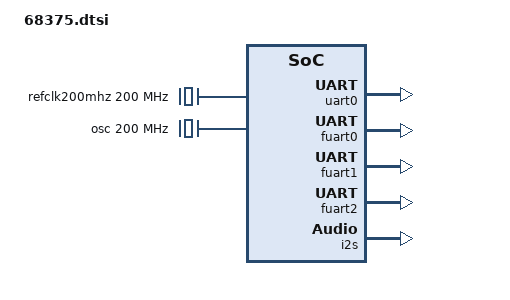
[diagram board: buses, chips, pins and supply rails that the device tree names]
/dts-v1/;

#include "linux_autoconf.h"

#include <dt-bindings/interrupt-controller/arm-gic.h>
#include <dt-bindings/interrupt-controller/irq.h>
#include "../../boot_rsvdmem.dtsi"

/ {
	#define MODEL "Broadcom BCM968375"
	#define COMPATIBLE "brcm,bcm968375"

/* memory reservations */
#if defined (CONFIG_BCM_DHD_RUNNER) || (CONFIG_BCM_DHD_RUNNER_MODULE) || defined(CONFIG_BCM_DHD_ARCHER) || defined(CONFIG_BCM_DHD_ARCHER_MODULE)
    #define DT_RESERVED_DHD_IN_UNCACHED_DEV
#endif
#if defined(CONFIG_BCM_WLAN) || defined(CONFIG_BCM_WLAN_MODULE)
#define	 DT_RESERVED_WLAN_CMA_IN_UNCACHED_DEV
#endif /* CONFIG_BCM_WLAN */

    reserved-memory {
        #address-cells = <2>;
        #size-cells = <2>;
        ranges;
            dt_reserved_cma: dt_reserved_cma {
            compatible = "shared-dma-pool";
            reusable;
#if defined(CONFIG_CMA_ALIGNMENT)
            align = <( (1UL << CONFIG_ARM64_PAGE_SHIFT) << CONFIG_CMA_ALIGNMENT)>;
#endif
            /* Bootloader will fill in the total size and offset */
            reg = <0x0 0x0 0x0 0x0>;
        };
    };

    plat_rsvmem_cached_device {
        compatible = "brcm,plat-rsvmem";
        dma-coherent;
        memory-region = <&dt_reserved_cma>;

        dt_reserved_bufmem: dt_reserved_bufmem {
            rsvd-size = <0x10000000>;
        };
    };

    plat_rsvmem_uncached_device {
        compatible = "brcm,plat-rsvmem";
        memory-region = <&dt_reserved_cma>;
    
        dt_reserved_rnrmem: dt_reserved_rnrmem {
            rsvd-size = <0x1400000>;
        };

#if (defined(CONFIG_BCM_HW_FIREWALL) || defined(CONFIG_BCM_HW_FIREWALL_MODULE))
        dt_reserved_ddosmem: dt_reserved_ddosmem {
            rsvd-size = <0x400000>;
        };
#endif
#ifdef DT_RESERVED_DHD_IN_UNCACHED_DEV
        dt_reserved_dhd0:dt_reserved_dhd0 {
            rsvd-size = <0>;
        };
        dt_reserved_dhd1:dt_reserved_dhd1 {
            rsvd-size = <0>;
        };
        dt_reserved_dhd2:dt_reserved_dhd2 {
            rsvd-size = <0>;
        };
        dt_reserved_dhd3:dt_reserved_dhd3 {
            rsvd-size = <0>;
        };
#endif
#ifdef DT_RESERVED_WLAN_CMA_IN_UNCACHED_DEV
		dt_reserved_wlan_cma:dt_reserved_wlan_cma {
			rsvd-size = <0>;
		};
#endif
    };

	aliases {
		serial0 = &uart0;
        serial1 = &fuart0;
        serial2 = &fuart1;
    };

	chosen {
		stdout-path = "serial0:115200n8";
		bootargs = "coherent_pool=2M console=ttyS0,115200 earlycon pci=pcie_bus_safe";
    };

	/* memc */
    memory_controller {
        #include "../../ip/memc.dtsi"
    };

    /* wan type auto detect */
    wantype_detect {
        #define GPON_GENERAL_CONFIG_ADDR    0x0 0x80129000
        #define GPON_GENERAL_CONFIG_SIZE    0x0 0x10
        #define EPON_TOP_ADDR               0x0 0x80100000
        #define EPON_TOP_SIZE               0x0 0x1C
        #define EPON_LIF_ADDR               0x0 0x80101800
        #define EPON_LIF_SIZE               0x0 0x110
        #define EPON_XPCSR_ADDR             0x0 0x80103000
        #define EPON_XPCSR_SIZE             0x0 0x124
        #define NGPON_RXGEN_ADDR            0x0 0x8015C000
        #define NGPON_RXGEN_SIZE            0x0 0x80
        #include "../../ip/bcm_wantype_detect.dtsi"
    };

    cpufreq: cpufreq {
        #define OP_MODE "dfs"
        #include "../../ip/bcm_cpufreq.dtsi"
        };

    otp: otp {
        compatible = "brcm,otp";
        };

    /* pcie common */
    pcie: pcie {
        compatible = "brcm,bcm-pcie";
        device_type = "cpci";
        brcm,pllclkid = <0x210>;
    };

    /* pcie core 0 GEN3 */
    pcie0: pcie@0 {
        #define PCIE_ID         0
        #define PCIE_SPI        79
        #define PCIE_ADDR       0x80080000
        #define PCIE_SIZE       0x0000B000
        #define PCIE_RANGE_ADDR 0xC0000000
        #define PCIE_RANGE_SIZE 0x10000000
        #include "../../ip/bcm_pcie_core.dtsi"
    };

    /* pcie core 1 GEN3 */
    pcie1: pcie@1 {
        #define PCIE_ID         1
        #define PCIE_SPI        80
        #define PCIE_ADDR       0x80090000
        #define PCIE_SIZE       0x0000B000
        #define PCIE_RANGE_ADDR 0xD0000000
        #define PCIE_RANGE_SIZE 0x10000000
        #include "../../ip/bcm_pcie_core.dtsi"
    };

    /* pcie core 2 GEN3 */
    pcie2: pcie@2 {
        #define PCIE_ID         2
        #define PCIE_SPI        81
        #define PCIE_ADDR       0x800A0000
        #define PCIE_SIZE       0x0000B000
        #define PCIE_RANGE_ADDR 0xE0000000
        #define PCIE_RANGE_SIZE 0x10000000
        #include "../../ip/bcm_pcie_core.dtsi"
    };

    /* boot state */
    boot_state: boot_state {
        #define RESET_REASON_OFFSET                 0x0 0x84120804  // NW1
        #define RESET_REASON_SIZE                   0x0 0x4
        #define RESET_STATUS_OFFSET                 0x0 0x84120800  // NW0
        #define RESET_STATUS_SIZE                   0x0 0x4
        #include "../../ip/bcm_boot_state_v2.dtsi"
    };


    gpon_drv,  {
        compatible = "brcm,gpon-drv";
        reg = <0x0 0x80128000 0x0 0x1c00>;
        interrupts = <GIC_SPI 174  IRQ_TYPE_LEVEL_HIGH>, /* INTERRUPT_WAN_GPON_RX */
                     <GIC_SPI 173  IRQ_TYPE_LEVEL_HIGH>; /* INTERRUPT_WAN_GPON_TX */
        interrupt-names = "gpon_rx", "gpon_tx";
    };

    ngpon_drv {
        compatible = "brcm,ngpon-drv";
        reg = <0x0 0x8015c000 0x0 0x9080>;
        enforce-long-preamble;
        interrupts = <GIC_SPI 162  IRQ_TYPE_LEVEL_HIGH>, /* INTERRUPT_WAN_XGRX */
                     <GIC_SPI 166  IRQ_TYPE_LEVEL_HIGH>, /* INTERRUPT_WAN_XGTX_INTR0 */
                     <GIC_SPI 165  IRQ_TYPE_LEVEL_HIGH>, /* INTERRUPT_WAN_XGTX_INTR1 */
                     <GIC_SPI 164  IRQ_TYPE_LEVEL_HIGH>, /* INTERRUPT_WAN_XGTX_INTR2 */
                     <GIC_SPI 163  IRQ_TYPE_LEVEL_HIGH>; /* INTERRUPT_WAN_XGTX_INTR3 */
        interrupt-names = "ngpon_rx", "ngpon_tx0", "ngpon_tx1", "ngpon_tx2", "ngpon_tx3";
    };

    wan_serdes {
        compatible = "brcm,pon-drv";
        status = "disabled";
        reg = <0x0 0x80104000 0x0 0x1cc00>;
        idx = <0>;
    };

    wan_serdes1 {
        compatible = "brcm,pon-drv";
        status = "disabled";
        idx = <1>;
    };
	
    epon_drv {
        compatible = "brcm,epon-drv";
        reg = <0x0 0x80100000 0x0 0x4000>;
    };

    /* xrdp,wan_bbh */
    rdpa_drv {
        compatible = "brcm,rdpa";
        reg = <0x0 0x82000000 0x0 0xE60000>,
              <0x0 0x80170000 0x0 0x12400>;
        interrupts = <GIC_SPI 129 IRQ_TYPE_LEVEL_HIGH>, /* INTERRUPT_XRDP_FPM/INTERRUPT_XRDP_QUEUE_32 */
                     <GIC_SPI 97  IRQ_TYPE_LEVEL_HIGH>, /* INTERRUPT_XRDP_QUEUE_0 */
                     <GIC_SPI 98  IRQ_TYPE_LEVEL_HIGH>, /* INTERRUPT_XRDP_QUEUE_1 */
                     <GIC_SPI 99  IRQ_TYPE_LEVEL_HIGH>, /* INTERRUPT_XRDP_QUEUE_2 */
                     <GIC_SPI 100  IRQ_TYPE_LEVEL_HIGH>, /* INTERRUPT_XRDP_QUEUE_3 */
                     <GIC_SPI 101 IRQ_TYPE_LEVEL_HIGH>, /* INTERRUPT_XRDP_QUEUE_4 */
                     <GIC_SPI 102 IRQ_TYPE_LEVEL_HIGH>, /* INTERRUPT_XRDP_QUEUE_5 */
                     <GIC_SPI 103 IRQ_TYPE_LEVEL_HIGH>, /* INTERRUPT_XRDP_QUEUE_6 */
                     <GIC_SPI 104 IRQ_TYPE_LEVEL_HIGH>, /* INTERRUPT_XRDP_QUEUE_7 */
                     <GIC_SPI 105 IRQ_TYPE_LEVEL_HIGH>, /* INTERRUPT_XRDP_QUEUE_8 */
                     <GIC_SPI 106 IRQ_TYPE_LEVEL_HIGH>, /* INTERRUPT_XRDP_QUEUE_9 */
                     <GIC_SPI 107 IRQ_TYPE_LEVEL_HIGH>, /* INTERRUPT_XRDP_QUEUE_10 */
                     <GIC_SPI 108 IRQ_TYPE_LEVEL_HIGH>, /* INTERRUPT_XRDP_QUEUE_11 */
                     <GIC_SPI 109 IRQ_TYPE_LEVEL_HIGH>, /* INTERRUPT_XRDP_QUEUE_12 */
                     <GIC_SPI 110 IRQ_TYPE_LEVEL_HIGH>, /* INTERRUPT_XRDP_QUEUE_13 */
                     <GIC_SPI 111 IRQ_TYPE_LEVEL_HIGH>, /* INTERRUPT_XRDP_QUEUE_14 */
                     <GIC_SPI 112 IRQ_TYPE_LEVEL_HIGH>, /* INTERRUPT_XRDP_QUEUE_15 */
                     <GIC_SPI 113 IRQ_TYPE_LEVEL_HIGH>, /* INTERRUPT_XRDP_QUEUE_16 */
                     <GIC_SPI 114 IRQ_TYPE_LEVEL_HIGH>, /* INTERRUPT_XRDP_QUEUE_17 */
                     <GIC_SPI 115 IRQ_TYPE_LEVEL_HIGH>, /* INTERRUPT_XRDP_QUEUE_18 */
                     <GIC_SPI 116 IRQ_TYPE_LEVEL_HIGH>, /* INTERRUPT_XRDP_QUEUE_19 */
                     <GIC_SPI 117 IRQ_TYPE_LEVEL_HIGH>, /* INTERRUPT_XRDP_QUEUE_20 */
                     <GIC_SPI 118 IRQ_TYPE_LEVEL_HIGH>, /* INTERRUPT_XRDP_QUEUE_21 */
                     <GIC_SPI 119 IRQ_TYPE_LEVEL_HIGH>, /* INTERRUPT_XRDP_QUEUE_22 */
                     <GIC_SPI 120 IRQ_TYPE_LEVEL_HIGH>, /* INTERRUPT_XRDP_QUEUE_23 */
                     <GIC_SPI 121 IRQ_TYPE_LEVEL_HIGH>, /* INTERRUPT_XRDP_QUEUE_24 */
                     <GIC_SPI 122 IRQ_TYPE_LEVEL_HIGH>, /* INTERRUPT_XRDP_QUEUE_25 */
                     <GIC_SPI 123 IRQ_TYPE_LEVEL_HIGH>, /* INTERRUPT_XRDP_QUEUE_26 */
                     <GIC_SPI 124 IRQ_TYPE_LEVEL_HIGH>, /* INTERRUPT_XRDP_QUEUE_27 */
                     <GIC_SPI 125 IRQ_TYPE_LEVEL_HIGH>, /* INTERRUPT_XRDP_QUEUE_28 */
                     <GIC_SPI 126 IRQ_TYPE_LEVEL_HIGH>, /* INTERRUPT_XRDP_QUEUE_29 */
                     <GIC_SPI 127 IRQ_TYPE_LEVEL_HIGH>, /* INTERRUPT_XRDP_QUEUE_30 */
                     <GIC_SPI 128 IRQ_TYPE_LEVEL_HIGH>; /* INTERRUPT_XRDP_QUEUE_31 */
        interrupt-names = "fpm", "queue0", "queue1", "queue2", "queue3", "queue4", "queue5",
                          "queue6", "queue7", "queue8", "queue9", "queue10", "queue11", 
                          "queue12", "queue13", "queue14", "queue15", "queue16", "queue17",
                          "queue18", "queue19", "queue20", "queue21", "queue22", "queue23",
                          "queue24", "queue25", "queue26", "queue27", "queue28", "queue29",
                          "queue30", "queue31";
    };

	/* clocks */
	#define PERIPH_CLK		200000000
	#define HS_SPI_PLL_CLK	200000000
	#include "../../ip/bcm_clocks.dtsi"

    #define UARTA_DBG       32
    #define UARTA_FUNC      33
    #define UARTB_FUNC      207
    #define UARTC_FUNC      179

    uart_clk: uart_clk {
        compatible = "fixed-clock";
        #clock-cells = <0>;
        clock-frequency = <50000000>;

        };

    refclk200mhz: refclk200mhz {
        compatible = "fixed-clock";
        #clock-cells = <0>;
        clock-frequency = <200000000>;
        };

    uart0: serial@8421C000 {
        compatible = "ns16550a";
        reg = <0x0 0x8421C000 0x0 0x20>;
        reg-io-width = <0x4>;
        reg-shift = <0x2>;
        interrupts = <GIC_SPI UARTA_DBG IRQ_TYPE_LEVEL_HIGH>;
        clocks = <&uart_clk>;

        };

    fuart0: serial@0x84219000 {
        compatible = "ns16550a";
        reg = <0x0 0x84219000 0x0 0x20>;
        reg-io-width = <0x4>;
        reg-shift = <0x2>;
        interrupts = <GIC_SPI UARTA_FUNC IRQ_TYPE_LEVEL_HIGH>;
        clocks = <&refclk200mhz>;

    };

    fuart1: serial@0x84219600 {
        compatible = "ns16550a";
        reg = <0x0 0x84219600 0x0 0x20>;
        reg-io-width = <0x4>;
        reg-shift = <0x2>;
        interrupts = <GIC_SPI UARTB_FUNC IRQ_TYPE_LEVEL_HIGH>;
        clocks = <&refclk200mhz>;

    };

    fuart2: serial@0x84219C00 {
        compatible = "ns16550a";
        reg = <0x0 0x84219C00 0x0 0x20>;
        reg-io-width = <0x4>;
        reg-shift = <0x2>;
        interrupts = <GIC_SPI UARTC_FUNC IRQ_TYPE_LEVEL_HIGH>;
        clocks = <&refclk200mhz>;

    };


    pincontroller: pinctrl {
            #define PINCTRL_OFFSET      0x0 0x84300630
            #define PINCTRL_SIZE        0x0 0xc
            #define PINCTRL_NUM_PINS    90
            #define PINCTRL_NUM_FUNC    11
            #define PINCTRL_GPIO_FUNC   4
            #include "../../ip/bcm_bca_pinctrl.dtsi"
            #include "68375_pinctrl.dtsi"
    };

    /* periph timers */
    timers: timers {
            #define TIMERS_OFFSET       0x0 0x84300500
            #define TIMERS__SIZE        0x0 0x48
            #define TIMER0_SPI          175
            #define TIMER1_SPI          176
            #define TIMER2_SPI          177
            #define TIMER3_SPI          178
            #include "../../ip/bcm_timer.dtsi"
    };
		        /* i2c */
    i2c0: i2c0 {
            #define I2C_OFFSET          0x0 0x84213100
            #define I2C_SIZE            0x0 0x60
            #include "../../ip/bcm_i2c_bus.dtsi"
    };

    i2c1: i2c1 {
            #define I2C_OFFSET          0x0 0x84213180
            #define I2C_SIZE            0x0 0x60
            #include "../../ip/bcm_i2c_bus.dtsi"
    };

    i2c2: i2c2 {
            #define I2C_OFFSET          0x0 0x84213200
            #define I2C_SIZE            0x0 0x60
            #include "../../ip/bcm_i2c_bus.dtsi"
    };

    i2s: bcm63xx-i2s {
            compatible      = "brcm,bcm63xx-i2s";
            reg             = <0x0 0x84301700 0x0 0x80>;
            interrupts      = <GIC_SPI 35 IRQ_TYPE_LEVEL_HIGH>;
            clocks          = <&i2sclk>, <&osc>;
            clock-names     = "i2sclk","i2sosc";
    };

    usb_ctrl: usb_ctrl {
        #define USB_CTRL_ADDR   0x0 0x800CF200
        #define USB_CTRL_SIZE   0x0 0x200
        #include "../../ip/bcm_usb_ctrl.dtsi"
    };

    usb0_xhci: usb0_xhci {
        #define USB_ADDR    0x0 0x800C0000
        #define USB_SIZE    0x0 0x4a4
        #define GBL_ADDR    0x0 0x800CC100
        #define GBL_SIZE    0x0 0x548
        #define USB_IRQ     85
        #include "../../ip/bcm_usb_xhci.dtsi"
        xhci-no-companion;
    };

    gpioc: gpioc {
            #define GPIO_BANKS_BASE     0x0 0x84214000
            #define GPIO_BANKS_SIZE     0x0 0x200                      
            #define GPIO_ACCESS_BASE    0x0 0x84213C00
            #define GPIO_ACCESS_SIZE    0x0 0x24
            #define GPIO_INTERRUPT      222
            #define NUM_OF_GPIOS        90
            #include "../../ip/bcm_bca_gpio_smc.dtsi"
            brcm,gpio-bank-widths = <32 32 26>;
    };


    /* HS SPI */
    hsspi: spi {
            pinctrl-0 = <&spim_group_pins>;
            pinctrl-names = "default";
            #define HS_SPI_OFFSET       0x0 0x84301000
            #define HS_SPI_SIZE         0x0 0x600
            #define HS_SPI_MAX_FREQ     50000000
            #define SPIM_CTRL_OFFSET    0x0 0x84210114
            #define SPIM_CTRL_SIZE      0x0 0x4
            /* #define HS_SPIM_SPI          36 */
            #include "../../ip/bcm_bca_hsspi.dtsi"
    };

    /* watchdog */
    wdt: watchdog  {
    	compatible = "brcm,bcm3390-wdt";
    	reg = <0x0 0x84213700 0x0 0x40>;
    	interrupts = <GIC_SPI 193 IRQ_TYPE_LEVEL_HIGH>;
    	interrupt-names = "wd_timeout";
    };

    /* watchdog reboot */
    wdt-reboot {
        compatible	= "wdt-reboot";
        wdt			= <&wdt>;
    };

    i2s_clkmclk_syscon: i2s_clkmclk_syscon {
        compatible          = "brcm,i2s-audio-clkmclk-syscon", "syscon";
        reg                 = <0x0 0x84301700 0x0 0x4>;
    };
};

/ {
     /* arch */
    #define PMU_CORE0_SPI   9
    #define PMU_CORE1_SPI   10
    #define PMU_CORE2_SPI   11
    #define PMU_CORE3_SPI   12
    #include "../../ip/bcm_b55_quad.dtsi"
};

/ {/* SMC OS */

    flash {
        compatible = "brcm,vflash", "simple-bus";
            };

    ftpm {
        compatible = "brcm,ftpm-smc";
        rpc-channel = <&rpctpmsmc>;
    };

    dqm {
        #define SMC_REG_BASE 0x0 0x84100000
        #define SMC_ARM_IRQ 213
        #include "../../ip/bcm_dqm.dtsi"
            };

    rpc {
        #include "../../ip/bcm_rpc.dtsi"
        };

    rpcsmcramlog {
        compatible = "brcm,smcramlog-rpc";
        rpc-channel = <&rpcrgsmc>;
        dummy-channel = <&rpcvflashsmc &rpcavssmc>;
    };

};

&clocks {
    osc: oscillator {
        #clock-cells        = <0>;
        compatible          = "fixed-clock";
        clock-frequency     = <200000000>;
    };

    i2sclk: i2sclk {
        #clock-cells        = <0>;
        compatible          = "brcm,i2s-clock";
        clocks              = <&osc>;
        clk-mclk-syscon     = <&i2s_clkmclk_syscon>;
        clock-output-names  = "i2s_clk";
    };

};

/* Networking */
/ {
    xport:xport {
        compatible = "brcm,xport";
        reg = <0x0 0x837f0000 0x0 0x8000>,
              <0x0 0x828b2000 0x0 0x1800>;
        status = "disabled";
    };

    ethphytop:ethphytop {
        compatible = "brcm,eth-phy-top";
        reg = <0x0 0x837ff000 0x0 0x1000>;
        xphy0-addr = <0x1>;
        xphy1-addr = <0x2>;
        xphy2-addr = <0x3>;
        xphy3-addr = <0x4>;
        xphy4-addr = <0x5>;
        status = "disabled";
    };

    serdes:serdes {
        compatible = "brcm,serdes1";
        reg = <0x0 0x837ff500 0x0 0x200>;
        status = "disabled";
    };

    mdio:mdio {
        compatible = "brcm,mdio1";
        reg = <0x0 0x837ffd00 0x0 0x10>;
        status = "disabled";
    };

    mdio_bus: mdio_bus {
        compatible = "simple-bus";
        bus-type = "MDIO_V1";
        #address-cells = <1>;
        #size-cells = <0>;

        xphy0:xphy0 {
            compatible = "brcm,bcaphy";
            phy-type = "EXT3";
            reg = <0x1>;
            caps-no-10000;
            caps-no-5000;
            caps-no-hdx;
            status = "disabled";
        };

        xphy1:xphy1 {
            compatible = "brcm,bcaphy";
            phy-type = "EXT3";
            reg = <0x2>;
            caps-no-10000;
            caps-no-5000;
            caps-no-hdx;
            status = "disabled";
        };

        xphy2:xphy2 {
            compatible = "brcm,bcaphy";
            phy-type = "EXT3";
            reg = <0x3>;
            caps-no-10000;
            caps-no-5000;
            caps-no-hdx;
            status = "disabled";
        };

        xphy3:xphy3 {
            compatible = "brcm,bcaphy";
            phy-type = "EXT3";
            reg = <0x4>;
            caps-no-10000;
            caps-no-5000;
            caps-no-hdx;
            status = "disabled";
        };

        xphy4:xphy4 {
            compatible = "brcm,bcaphy";
            phy-type = "EXT3";
            reg = <0x5>;
            caps-no-hdx;
            status = "disabled";
        };

        serdes0:serdes0 {
             compatible = "brcm,bcaphy";
             phy-type = "MERLIN";
             reg = <0x10>;
             serdes-core = <0>;
             serdes-lane = <0>;
             status = "disabled";
        };

        serdes1:serdes1 {
             compatible = "brcm,bcaphy";
             phy-type = "MERLIN";
             reg = <0x11>;
             serdes-core = <1>;
             serdes-lane = <0>;
             status = "disabled";
        };
    };

    wan_serdes_bus {
        compatible = "simple-bus";

        #address-cells = <1>;
        #size-cells = <0>;

        phy_wan_serdes: phy_wan_serdes {
            compatible = "brcm,bcaphy";
            phy-type = "PON";
            reg = <0>;
            status = "disabled";
        };
    };

    switch0:switch0 {
        compatible = "brcm,enet";
        label = "bcmsw";
        sw-type = "RUNNER_SW";

        ports {
            #address-cells = <1>;
            #size-cells = <0>;

            port_xgphy0 {
                reg = <3>;
                mac-type = "XPORT";
                mac-index = <4>;
                phy-mode = "xfi";
                phy-handle = <&xphy0>;
                status = "disabled";
            };

            port_xgphy1 {
                reg = <4>;
                mac-type = "XPORT";
                mac-index = <5>;
                phy-mode = "xfi";
                phy-handle = <&xphy1>;
                status = "disabled";
            };

            port_xgphy2 {
                reg = <5>;
                mac-type = "XPORT";
                mac-index = <6>;
                phy-mode = "xfi";
                phy-handle = <&xphy2>;
                status = "disabled";
            };

            port_xgphy3 {
                reg = <6>;
                mac-type = "XPORT";
                mac-index = <7>;
                phy-mode = "xfi";
                phy-handle = <&xphy3>;
                status = "disabled";
            };

            port_xgphy4 {
                reg = <2>;
                mac-type = "XPORT";
                mac-index = <2>;
                phy-mode = "xfi";
                phy-handle = <&xphy4>;
                status = "disabled";
            };

            port_slan1@slan_sd {
                reg = <0>;
                mac-type = "XPORT";
                mac-index = <1>;
                phy-handle = <&serdes1>;
                phy-mode = "xfi";
                detect;
                is-wanconf-ae;
                port-group = <1>;
                status = "disabled";
            };

            port_slan0@xpon_ae {
                reg = <1>;
                mac-type = "XPORT";
                mac-index = <0>;
                phy-handle = <&serdes0>;
                phy-mode = "xfi";
                detect;
                is-wanconf-ae;
                port-group = <0>;
                status = "disabled";
            };

            port_wan@xpon_ae {
                reg = <16>;
                phy-handle = <&phy_wan_serdes>;
                phy-mode = "serdes";
                detect;
                is-wanconf-mux-pon;
                is-wan;
                port-group = <0>;
                status = "disabled";
            };

            port_wan@slan_sd {
                reg = <16>;
                phy-handle = <&phy_wan_serdes>;
                phy-mode = "serdes";
                detect;
                is-wanconf-mux-pon;
                is-wan;
                port-group = <1>;
                status = "disabled";
            };
        };
    };
};

#ifdef CONFIG_BCM_BSTORM
/ {
    #include "68375_bstorm.dtsi"
};
#endif
